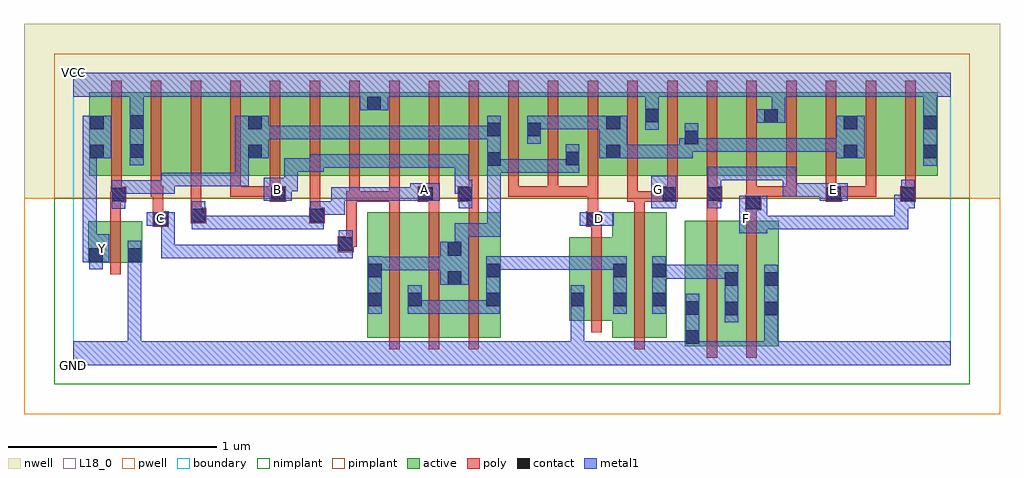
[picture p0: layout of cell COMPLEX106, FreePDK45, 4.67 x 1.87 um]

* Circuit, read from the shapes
.subckt COMPLEX106 A B C D E F G GND VCC Y
M1 GND n1 Y VSUBS nfet w=0.2u l=0.05u
M2 n2 C n1 VSUBS nfet w=0.6u l=0.05u
M3 n1 A n2 VSUBS nfet w=0.6u l=0.05u
M4 n2 B n1 VSUBS nfet w=0.6u l=0.05u
M5 n2 D GND VSUBS nfet w=0.4u l=0.05u
M6 n3 G n2 VSUBS nfet w=0.6u l=0.05u
M7 n3 E GND VSUBS nfet w=0.6u l=0.05u
M8 GND F n3 VSUBS nfet w=0.6u l=0.05u
M9 VCC n1 Y n4 pfet w=0.4u l=0.05u
M10 n5 C VCC n4 pfet w=0.4u l=0.05u
M11 n6 A n5 n4 pfet w=0.4u l=0.05u
M12 n1 B n6 n4 pfet w=0.4u l=0.05u
M13 n7 B n1 n4 pfet w=0.4u l=0.05u
M14 n8 A n7 n4 pfet w=0.4u l=0.05u
M15 VCC C n8 n4 pfet w=0.4u l=0.05u
M16 n9 C VCC n4 pfet w=0.4u l=0.05u
M17 n10 A n9 n4 pfet w=0.4u l=0.05u
M18 n1 B n10 n4 pfet w=0.4u l=0.05u
M19 n11 D n1 n4 pfet w=0.4u l=0.05u m=3
M20 VCC G n11 n4 pfet w=0.4u l=0.05u m=2
M21 n12 E n11 n4 pfet w=0.4u l=0.05u
M22 VCC F n12 n4 pfet w=0.4u l=0.05u
M23 n13 F VCC n4 pfet w=0.4u l=0.05u
M24 n11 E n13 n4 pfet w=0.4u l=0.05u
M25 n14 E n11 n4 pfet w=0.4u l=0.05u
M26 VCC F n14 n4 pfet w=0.4u l=0.05u
.ends

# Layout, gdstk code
import gdstk
lib = gdstk.Library(unit=1e-6, precision=1e-09)
def R(c, l, rs):  # rectangles x0, y0, x1, y1
    for r in rs: c.add(gdstk.rectangle(r[:2], r[2:], *l))
def A(c, l, x, y, w, h, nx, ny, dx, dy):  # array of equal rectangles
    R(c, l, [(x+i*dx, y+j*dy, x+i*dx+w, y+j*dy+h) for i in range(nx) for j in range(ny)])
active = (1, 0)
pwell = (2, 0)
nwell = (3, 0)
nimplant = (4, 0)
pimplant = (5, 0)
poly = (9, 0)
contact = (10, 0)
metal1 = (11, 0)
L18_0 = (18, 0)
boundary = (235, 0)

complex106 = lib.new_cell('COMPLEX106')
A(complex106, active, 0.492, 0.907, 0.19, 0.4, 3, 1, 0.57, 0)
A(complex106, active, 2.922, 0.907, 0.23, 0.4, 3, 1, 0.38, 0)
A(complex106, active, 3.152, 0.907, 0.225, 0.4, 3, 1, 0.38, 0)
R(complex106, active, [(2.927,0.092,3.002,0.692), (2.927,0.092,3.187,0.692), (3.112,0.092,3.377,0.692), (3.302,0.092,3.377,0.692), (1.407,0.132,1.672,0.732), (1.597,0.132,1.862,0.732), (1.787,0.132,2.047,0.732), (2.58,0.132,2.84,0.732), (1.407,0.145,1.482,0.732), (1.597,0.145,1.672,0.617), (1.787,0.145,1.862,0.692), (1.972,0.145,2.047,0.732), (2.765,0.145,2.84,0.732), (3.112,0.145,3.187,0.692), (2.58,0.2,2.655,0.612), (2.375,0.212,2.655,0.612), (2.375,0.212,2.45,0.612), (0.072,0.49,0.147,0.69), (0.072,0.49,0.332,0.69), (0.257,0.49,0.332,0.69), (0.077,0.907,0.152,1.2), (0.077,0.907,0.342,1.307), (0.267,0.907,0.342,1.307), (0.267,0.907,0.492,1.307), (0.682,0.907,0.907,1.307), (0.832,0.907,1.062,1.307), (0.832,0.907,0.907,1.2), (1.252,0.907,1.477,1.307), (1.402,0.907,1.632,1.307), (1.402,0.907,1.477,1.29), (1.822,0.907,2.052,1.307), (1.977,0.907,2.052,1.2), (1.977,0.907,2.242,1.307), (2.167,0.907,2.242,1.2), (2.167,0.907,2.427,1.307), (2.352,0.907,2.622,1.307), (2.352,0.907,2.427,1.07), (2.547,0.907,2.622,1.2), (2.547,0.907,2.807,1.307), (2.732,0.907,2.807,1.307), (2.732,0.907,2.997,1.307), (2.922,0.907,2.997,1.2), (3.302,0.907,3.377,1.307), (3.682,0.907,3.757,1.2), (4.062,0.907,4.137,1.307)])
R(complex106, pwell, [(-0.235,-0.235,4.435,0.8)])
R(complex106, nwell, [(-0.235,0.8,4.435,1.635)])
R(complex106, nimplant, [(-0.09,-0.09,4.29,0.8)])
R(complex106, pimplant, [(-0.09,0.8,4.29,1.49)])
A(complex106, poly, 1.512, 0.077, 0.05, 0.71, 3, 1, 0.19, 0)
A(complex106, poly, 1.512, 0.737, 0.05, 0.095, 3, 1, 0.19, 0)
A(complex106, poly, 1.702, 0.807, 0.05, 0.095, 5, 1, 0.19, 0)
A(complex106, poly, 2.842, 0.807, 0.05, 0.095, 7, 1, 0.19, 0)
A(complex106, poly, 0.182, 0.852, 0.05, 0.51, 21, 1, 0.19, 0)
R(complex106, poly, [(3.032,0.037,3.082,0.747), (3.222,0.037,3.272,0.747), (2.685,0.077,2.735,0.787), (2.48,0.157,2.53,0.667), (0.177,0.435,0.227,0.745), (1.267,0.542,1.342,0.617), (1.292,0.567,1.342,0.617), (1.292,0.567,1.357,0.617), (1.307,0.567,1.357,0.832), (2.48,0.617,2.53,0.712), (0.382,0.662,0.457,0.737), (2.455,0.662,2.53,0.737), (0.562,0.68,0.637,0.755), (1.13,0.68,1.205,0.755), (0.382,0.687,0.432,0.857), (2.462,0.687,2.512,0.857), (0.177,0.695,0.227,0.83), (3.032,0.697,3.082,0.832), (3.222,0.697,3.272,0.792), (0.562,0.705,0.612,0.755), (0.562,0.705,0.612,0.755), (0.562,0.705,0.612,0.902), (1.132,0.705,1.182,0.755), (1.132,0.705,1.182,0.755), (1.132,0.705,1.182,0.902), (2.685,0.737,2.735,0.832), (3.217,0.742,3.292,0.817), (3.222,0.767,3.272,0.857), (0.177,0.78,0.23,0.83), (0.18,0.78,0.23,0.83), (0.18,0.78,0.255,0.855), (0.942,0.782,1.017,0.857), (1.307,0.782,1.372,0.832), (1.322,0.782,1.372,0.832), (1.322,0.782,1.372,0.832), (1.322,0.782,1.562,0.832), (1.322,0.782,1.372,0.902), (1.512,0.782,1.562,0.832), (1.512,0.782,1.562,0.832), (1.512,0.782,1.562,0.832), (1.512,0.782,1.562,0.832), (1.512,0.782,1.562,0.832), (1.512,0.782,1.562,0.902), (1.65,0.782,1.752,0.857), (1.84,0.782,1.942,0.857), (1.892,0.782,1.942,0.832), (1.892,0.782,1.942,0.832), (2.652,0.782,2.702,0.902), (2.652,0.782,2.735,0.832), (2.685,0.782,2.735,0.832), (2.685,0.782,2.735,0.832), (2.685,0.782,2.735,0.832), (2.685,0.782,2.735,0.832), (2.685,0.782,2.867,0.832), (2.817,0.782,2.892,0.857), (3.032,0.782,3.082,0.832), (3.032,0.782,3.082,0.832), (3.032,0.782,3.107,0.857), (3.602,0.782,3.677,0.857), (3.957,0.782,4.032,0.857), (0.182,0.805,0.232,0.902), (0.372,0.807,0.422,0.902), (0.372,0.807,0.432,0.857), (0.752,0.807,0.802,0.902), (0.752,0.807,0.802,0.857), (0.752,0.807,0.802,0.857), (0.752,0.807,0.802,0.857), (0.752,0.807,0.992,0.857), (0.942,0.807,0.992,0.902), (1.702,0.807,1.752,0.857), (1.702,0.807,1.752,0.857), (2.082,0.807,2.132,0.857), (2.082,0.807,2.132,0.857), (2.082,0.807,2.132,0.857), (2.082,0.807,2.322,0.857), (2.272,0.807,2.322,0.857), (2.272,0.807,2.322,0.857), (2.272,0.807,2.322,0.857), (2.272,0.807,2.512,0.857), (2.462,0.807,2.512,0.857), (3.222,0.807,3.272,0.857), (3.222,0.807,3.462,0.857), (3.412,0.807,3.462,0.857), (3.412,0.807,3.462,0.857), (3.412,0.807,3.462,0.857), (3.627,0.807,3.677,0.857), (3.627,0.807,3.677,0.857), (3.627,0.807,3.842,0.857), (3.792,0.807,3.842,0.857), (3.982,0.807,4.032,0.857), (3.982,0.807,4.032,0.857)])
R(complex106, contact, [(2.932,0.102,2.997,0.167), (3.117,0.24,3.182,0.305), (3.307,0.24,3.372,0.305), (2.932,0.242,2.997,0.307), (1.412,0.282,1.477,0.347), (1.602,0.282,1.667,0.347), (1.977,0.282,2.042,0.347), (2.38,0.282,2.445,0.347), (2.585,0.282,2.65,0.347), (2.77,0.282,2.835,0.347), (3.117,0.38,3.182,0.445), (3.307,0.38,3.372,0.445), (1.792,0.385,1.857,0.45), (1.412,0.422,1.477,0.487), (1.977,0.422,2.042,0.487), (2.585,0.422,2.65,0.487), (2.77,0.422,2.835,0.487), (0.077,0.495,0.142,0.56), (0.262,0.495,0.327,0.56), (1.792,0.525,1.857,0.59), (1.272,0.547,1.337,0.612), (0.387,0.667,0.452,0.732), (2.46,0.667,2.525,0.732), (0.567,0.685,0.632,0.75), (1.135,0.685,1.2,0.75), (3.222,0.747,3.287,0.812), (0.185,0.785,0.25,0.85), (0.947,0.787,1.012,0.852), (1.655,0.787,1.72,0.852), (1.845,0.787,1.91,0.852), (2.822,0.787,2.887,0.852), (3.037,0.787,3.102,0.852), (3.607,0.787,3.672,0.852), (3.962,0.787,4.027,0.852), (1.982,0.955,2.047,1.02), (2.357,0.957,2.422,1.022), (0.082,0.99,0.147,1.055), (0.837,0.99,0.902,1.055), (2.552,0.99,2.617,1.055), (3.687,0.99,3.752,1.055), (4.067,0.99,4.132,1.055), (0.272,0.992,0.337,1.057), (2.927,1.057,2.992,1.122), (1.982,1.095,2.047,1.16), (2.172,1.095,2.237,1.16), (0.082,1.13,0.147,1.195), (0.837,1.13,0.902,1.195), (2.552,1.13,2.617,1.195), (3.687,1.13,3.752,1.195), (4.067,1.13,4.132,1.195), (0.272,1.132,0.337,1.197), (3.307,1.16,3.372,1.225), (2.737,1.162,2.802,1.227), (1.407,1.22,1.472,1.285)])
R(complex106, metal1, [(0,0,4.2,0.115), (0.262,0.05,0.327,0.115), (0.262,0.05,0.327,0.115), (0.262,0.05,0.327,0.115), (0.262,0.05,0.327,0.115), (0.262,0.05,0.327,0.115), (0.262,0.05,0.327,0.115), (0.262,0.05,0.327,0.525), (2.38,0.05,2.445,0.115), (2.38,0.05,2.445,0.115), (2.38,0.05,2.445,0.312), (2.932,0.05,2.997,0.132), (3.307,0.05,3.372,0.27), (2.932,0.067,2.997,0.342), (3.117,0.205,3.182,0.48), (3.307,0.205,3.372,0.48), (1.412,0.247,1.477,0.522), (1.602,0.247,1.667,0.382), (1.602,0.247,1.667,0.312), (1.602,0.247,1.667,0.312), (1.602,0.247,1.892,0.312), (1.827,0.247,1.892,0.312), (1.827,0.247,1.892,0.312), (1.827,0.247,1.892,0.312), (1.827,0.247,2.042,0.312), (1.977,0.247,2.042,0.522), (2.38,0.247,2.445,0.382), (2.585,0.247,2.65,0.522), (2.77,0.247,2.835,0.522), (1.757,0.385,1.892,0.59), (2.77,0.415,2.835,0.48), (2.77,0.415,2.835,0.48), (2.77,0.415,3.045,0.48), (2.98,0.415,3.045,0.48), (2.98,0.415,3.115,0.48), (3.05,0.415,3.115,0.48), (3.05,0.415,3.182,0.48), (1.412,0.455,1.477,0.52), (1.412,0.455,1.477,0.52), (1.412,0.455,1.685,0.52), (1.62,0.455,1.685,0.52), (1.62,0.455,1.685,0.52), (1.62,0.455,1.685,0.52), (1.62,0.455,1.822,0.52), (1.977,0.457,2.042,0.522), (1.977,0.457,2.042,0.522), (1.977,0.457,2.047,0.522), (1.982,0.457,2.047,0.522), (1.982,0.457,2.285,0.522), (2.22,0.457,2.285,0.522), (2.22,0.457,2.285,0.522), (2.22,0.457,2.285,0.522), (2.22,0.457,2.445,0.522), (2.38,0.457,2.445,0.522), (2.38,0.457,2.445,0.522), (2.38,0.457,2.445,0.522), (2.38,0.457,2.65,0.522), (0.077,0.46,0.142,0.595), (0.262,0.46,0.327,0.595), (0.047,0.492,0.172,0.627), (0.077,0.492,0.142,0.557), (0.422,0.512,0.487,0.577), (0.422,0.512,0.625,0.577), (0.422,0.512,0.487,0.732), (0.56,0.512,0.625,0.577), (0.56,0.512,0.625,0.577), (0.56,0.512,0.625,0.577), (0.56,0.512,0.8,0.577), (0.735,0.512,0.8,0.577), (0.735,0.512,0.8,0.577), (0.735,0.512,0.8,0.577), (0.735,0.512,0.977,0.577), (0.912,0.512,0.977,0.577), (0.912,0.512,1.075,0.577), (1.01,0.512,1.075,0.577), (1.01,0.512,1.2,0.577), (1.135,0.512,1.2,0.577), (1.135,0.512,1.212,0.577), (1.147,0.512,1.212,0.577), (1.147,0.512,1.212,0.577), (1.147,0.512,1.212,0.577), (1.147,0.512,1.337,0.577), (1.272,0.512,1.337,0.647), (1.827,0.525,1.892,0.68), (0.047,0.562,0.112,1.055), (1.827,0.615,1.892,0.68), (1.827,0.615,1.892,0.68), (1.827,0.615,1.892,0.68), (1.827,0.615,2.047,0.68), (1.982,0.615,2.047,0.68), (1.982,0.615,2.047,0.68), (1.982,0.615,2.047,0.68), (1.982,0.615,2.047,0.985), (3.187,0.632,3.322,0.812), (0.567,0.65,0.632,0.785), (0.567,0.65,0.632,0.715), (0.567,0.65,0.632,0.715), (0.567,0.65,0.8,0.715), (0.735,0.65,0.8,0.715), (0.735,0.65,0.8,0.715), (0.735,0.65,0.8,0.715), (0.735,0.65,0.937,0.715), (0.872,0.65,0.937,0.715), (0.872,0.65,1.075,0.715), (1.01,0.65,1.075,0.715), (1.01,0.65,1.2,0.715), (1.135,0.65,1.2,0.785), (3.257,0.65,3.322,0.715), (3.257,0.65,3.322,0.715), (3.257,0.65,3.5,0.715), (3.435,0.65,3.5,0.715), (3.435,0.65,3.5,0.715), (3.435,0.65,3.5,0.715), (3.435,0.65,3.717,0.715), (3.652,0.65,3.717,0.715), (3.652,0.65,3.855,0.715), (3.79,0.65,3.995,0.715), (3.79,0.65,3.855,0.715), (3.79,0.65,3.855,0.715), (3.79,0.65,3.855,0.715), (3.93,0.65,3.995,0.817), (0.352,0.667,0.487,0.732), (0.422,0.667,0.487,0.732), (0.422,0.667,0.487,0.732), (2.425,0.667,2.587,0.732), (1.135,0.72,1.3,0.785), (1.235,0.72,1.3,0.852), (0.185,0.75,0.25,0.885), (1.845,0.752,1.91,0.887), (2.767,0.752,2.887,0.907), (3.037,0.752,3.102,0.95), (3.93,0.752,4.027,0.817), (3.962,0.752,4.027,0.887), (0.912,0.787,1.047,0.897), (1.235,0.787,1.34,0.852), (1.275,0.787,1.34,0.852), (1.275,0.787,1.507,0.852), (1.442,0.787,1.507,0.852), (1.442,0.787,1.507,0.852), (1.442,0.787,1.507,0.852), (1.442,0.787,1.677,0.852), (1.612,0.787,1.677,0.852), (1.612,0.787,1.677,0.852), (1.612,0.787,1.755,0.872), (3.572,0.787,3.707,0.872), (3.395,0.807,3.46,0.872), (3.395,0.807,3.46,0.872), (3.395,0.807,3.637,0.872), (3.395,0.807,3.46,0.95), (0.185,0.82,0.25,0.885), (0.185,0.82,0.25,0.885), (0.185,0.82,0.487,0.885), (0.422,0.82,0.487,0.885), (0.422,0.82,0.487,0.885), (0.422,0.82,0.487,0.922), (1.827,0.822,1.91,0.887), (1.827,0.822,1.892,1.01), (0.982,0.832,1.075,0.897), (1.01,0.832,1.075,0.99), (0.422,0.857,0.632,0.922), (0.567,0.857,0.632,0.922), (0.567,0.857,0.632,0.922), (0.567,0.857,0.632,0.922), (0.567,0.857,0.8,0.922), (0.735,0.857,0.8,0.922), (0.735,0.857,0.84,0.922), (0.775,0.857,0.84,0.922), (0.775,0.857,0.84,1.055), (3.037,0.885,3.182,0.95), (3.117,0.885,3.322,0.95), (3.117,0.885,3.182,0.95), (3.257,0.885,3.322,0.95), (3.257,0.885,3.322,0.95), (3.257,0.885,3.322,0.95), (3.257,0.885,3.46,0.95), (1.982,0.92,2.047,1.195), (1.982,0.922,2.047,0.987), (1.982,0.922,2.047,0.987), (1.982,0.922,2.185,0.987), (2.12,0.922,2.185,0.987), (2.12,0.922,2.185,0.987), (2.12,0.922,2.185,0.987), (2.12,0.922,2.422,0.987), (2.357,0.922,2.422,1.057), (1.01,0.925,1.2,0.99), (1.135,0.925,1.2,1.01), (1.135,0.945,1.212,1.01), (1.147,0.945,1.212,1.01), (1.147,0.945,1.34,1.01), (1.275,0.945,1.34,1.01), (1.275,0.945,1.477,1.01), (1.412,0.945,1.477,1.01), (1.412,0.945,1.477,1.01), (1.412,0.945,1.477,1.01), (1.412,0.945,1.645,1.01), (1.58,0.945,1.645,1.01), (1.58,0.945,1.645,1.01), (1.58,0.945,1.645,1.01), (1.58,0.945,1.892,1.01), (4.067,0.955,4.132,1.23), (0.272,0.957,0.337,1.232), (0.047,0.99,0.112,1.055), (0.047,0.99,0.112,1.055), (0.047,0.99,0.182,1.195), (0.775,0.99,0.937,1.195), (2.517,0.99,2.652,1.195), (2.587,0.99,2.652,1.055), (2.587,0.99,2.652,1.055), (2.587,0.99,2.652,1.055), (2.587,0.99,2.652,1.055), (2.587,0.99,2.79,1.055), (2.725,0.99,2.79,1.055), (2.725,0.99,2.965,1.055), (2.9,0.99,2.965,1.087), (3.652,0.99,3.787,1.195), (2.9,1.022,2.992,1.087), (2.927,1.022,2.992,1.157), (2.927,1.022,3.102,1.087), (3.037,1.022,3.102,1.087), (3.037,1.022,3.185,1.087), (3.12,1.022,3.185,1.087), (3.12,1.022,3.322,1.087), (3.257,1.022,3.322,1.087), (3.257,1.022,3.322,1.087), (3.257,1.022,3.322,1.087), (3.257,1.022,3.5,1.087), (3.435,1.022,3.5,1.087), (3.435,1.022,3.5,1.087), (3.435,1.022,3.5,1.087), (3.435,1.022,3.717,1.087), (3.652,1.022,3.717,1.087), (3.652,1.022,3.717,1.087), (2.172,1.06,2.237,1.195), (0.872,1.082,0.937,1.147), (0.872,1.082,0.937,1.147), (0.872,1.082,1.075,1.147), (1.01,1.082,1.075,1.147), (1.01,1.082,1.185,1.147), (1.12,1.082,1.185,1.147), (1.12,1.082,1.212,1.147), (1.147,1.082,1.212,1.147), (1.147,1.082,1.34,1.147), (1.275,1.082,1.34,1.147), (1.275,1.082,1.477,1.147), (1.412,1.082,1.477,1.147), (1.412,1.082,1.477,1.147), (1.412,1.082,1.477,1.147), (1.412,1.082,1.645,1.147), (1.58,1.082,1.645,1.147), (1.58,1.082,1.645,1.147), (1.58,1.082,1.645,1.147), (1.58,1.082,1.892,1.147), (1.827,1.082,1.892,1.147), (1.827,1.082,1.892,1.147), (1.827,1.082,1.892,1.147), (1.827,1.082,2.047,1.147), (2.737,1.127,2.802,1.262), (2.172,1.13,2.237,1.195), (2.172,1.13,2.237,1.195), (2.172,1.13,2.445,1.195), (2.38,1.13,2.445,1.195), (2.38,1.13,2.445,1.195), (2.38,1.13,2.445,1.195), (2.38,1.13,2.582,1.195), (3.272,1.16,3.407,1.225), (3.342,1.16,3.407,1.35), (4.067,1.165,4.132,1.35), (0.272,1.167,0.337,1.35), (2.737,1.197,2.802,1.35), (1.372,1.22,1.507,1.285), (1.442,1.22,1.507,1.35), (0,1.285,4.2,1.4)])
R(complex106, L18_0, [(0,0,4.2,0.115), (0.262,0.05,0.327,0.115), (0.262,0.05,0.327,0.115), (0.262,0.05,0.327,0.115), (0.262,0.05,0.327,0.115), (0.262,0.05,0.327,0.115), (0.262,0.05,0.327,0.115), (0.262,0.05,0.327,0.525), (2.38,0.05,2.445,0.115), (2.38,0.05,2.445,0.115), (2.38,0.05,2.445,0.312), (2.932,0.05,2.997,0.132), (3.307,0.05,3.372,0.27), (2.932,0.067,2.997,0.342), (3.307,0.205,3.372,0.48), (2.38,0.247,2.445,0.382), (0.077,0.46,0.142,0.595), (0.262,0.46,0.327,0.595), (0.047,0.492,0.172,0.627), (0.077,0.492,0.142,0.557), (0.422,0.512,0.487,0.577), (0.422,0.512,0.487,0.732), (0.422,0.512,0.625,0.577), (0.56,0.512,0.625,0.577), (0.56,0.512,0.625,0.577), (0.56,0.512,0.625,0.577), (0.56,0.512,0.8,0.577), (0.735,0.512,0.8,0.577), (0.735,0.512,0.8,0.577), (0.735,0.512,0.8,0.577), (0.735,0.512,0.977,0.577), (0.912,0.512,0.977,0.577), (0.912,0.512,1.075,0.577), (1.01,0.512,1.075,0.577), (1.01,0.512,1.2,0.577), (1.135,0.512,1.2,0.577), (1.135,0.512,1.212,0.577), (1.147,0.512,1.212,0.577), (1.147,0.512,1.212,0.577), (1.147,0.512,1.212,0.577), (1.147,0.512,1.337,0.577), (1.272,0.512,1.337,0.647), (0.107,0.527,0.172,0.592), (0.047,0.562,0.112,1.055), (3.187,0.632,3.322,0.812), (0.567,0.65,0.632,0.785), (0.567,0.65,0.632,0.715), (0.567,0.65,0.632,0.715), (0.567,0.65,0.8,0.715), (0.735,0.65,0.8,0.715), (0.735,0.65,0.8,0.715), (0.735,0.65,0.8,0.715), (0.735,0.65,0.937,0.715), (0.872,0.65,0.937,0.715), (0.872,0.65,1.075,0.715), (1.01,0.65,1.075,0.715), (1.01,0.65,1.2,0.715), (1.135,0.65,1.2,0.785), (3.257,0.65,3.322,0.715), (3.257,0.65,3.322,0.715), (3.257,0.65,3.5,0.715), (3.435,0.65,3.5,0.715), (3.435,0.65,3.5,0.715), (3.435,0.65,3.5,0.715), (3.435,0.65,3.717,0.715), (3.652,0.65,3.717,0.715), (3.652,0.65,3.855,0.715), (3.79,0.65,3.855,0.715), (3.79,0.65,3.855,0.715), (3.79,0.65,3.855,0.715), (3.79,0.65,3.995,0.715), (3.93,0.65,3.995,0.817), (0.352,0.667,0.487,0.732), (0.387,0.667,0.452,0.732), (0.422,0.667,0.487,0.732), (0.422,0.667,0.487,0.732), (2.425,0.667,2.587,0.732), (2.487,0.667,2.552,0.732), (3.187,0.667,3.252,0.732), (1.135,0.72,1.3,0.785), (1.235,0.72,1.3,0.852), (1.845,0.752,1.91,0.887), (2.767,0.752,2.887,0.907), (3.037,0.752,3.102,0.95), (3.93,0.752,4.027,0.817), (3.962,0.752,4.027,0.887), (0.912,0.787,1.047,0.897), (1.235,0.787,1.34,0.852), (1.275,0.787,1.34,0.852), (1.275,0.787,1.507,0.852), (1.442,0.787,1.507,0.852), (1.442,0.787,1.507,0.852), (1.442,0.787,1.507,0.852), (1.442,0.787,1.677,0.852), (1.612,0.787,1.677,0.852), (1.612,0.787,1.677,0.852), (1.612,0.787,1.755,0.872), (3.572,0.787,3.707,0.872), (0.947,0.807,1.012,0.872), (1.647,0.807,1.712,0.872), (2.767,0.807,2.832,0.872), (3.395,0.807,3.46,0.872), (3.395,0.807,3.46,0.872), (3.395,0.807,3.637,0.872), (3.395,0.807,3.46,0.95), (3.607,0.807,3.672,0.872), (1.827,0.822,1.892,1.01), (1.827,0.822,1.91,0.887), (0.982,0.832,1.075,0.897), (1.01,0.832,1.075,0.99), (3.037,0.885,3.182,0.95), (3.117,0.885,3.182,0.95), (3.117,0.885,3.322,0.95), (3.257,0.885,3.322,0.95), (3.257,0.885,3.322,0.95), (3.257,0.885,3.322,0.95), (3.257,0.885,3.46,0.95), (1.01,0.925,1.2,0.99), (1.135,0.925,1.2,1.01), (1.135,0.945,1.212,1.01), (1.147,0.945,1.212,1.01), (1.147,0.945,1.34,1.01), (1.275,0.945,1.34,1.01), (1.275,0.945,1.477,1.01), (1.412,0.945,1.477,1.01), (1.412,0.945,1.477,1.01), (1.412,0.945,1.477,1.01), (1.412,0.945,1.645,1.01), (1.58,0.945,1.645,1.01), (1.58,0.945,1.645,1.01), (1.58,0.945,1.645,1.01), (1.58,0.945,1.892,1.01), (4.067,0.955,4.132,1.23), (0.272,0.957,0.337,1.232), (0.047,0.99,0.112,1.055), (0.047,0.99,0.112,1.055), (0.047,0.99,0.182,1.195), (2.737,1.127,2.802,1.262), (3.272,1.16,3.407,1.225), (3.342,1.16,3.407,1.35), (4.067,1.165,4.132,1.35), (0.272,1.167,0.337,1.35), (2.737,1.197,2.802,1.35), (1.372,1.22,1.507,1.285), (1.442,1.22,1.507,1.35), (0,1.285,4.2,1.4)])
R(complex106, boundary, [(0,0,4.2,1.4)])
complex106.add(gdstk.Label('A', (1.68,0.84), layer=11, texttype=0))
complex106.add(gdstk.Label('B', (0.98,0.84), layer=11, texttype=0))
complex106.add(gdstk.Label('C', (0.42,0.7), layer=11, texttype=0))
complex106.add(gdstk.Label('D', (2.52,0.7), layer=11, texttype=0))
complex106.add(gdstk.Label('E', (3.64,0.84), layer=11, texttype=0))
complex106.add(gdstk.Label('F', (3.22,0.7), layer=11, texttype=0))
complex106.add(gdstk.Label('G', (2.8,0.84), layer=11, texttype=0))
complex106.add(gdstk.Label('Y', (0.14,0.56), layer=11, texttype=0))
complex106.add(gdstk.Label('VCC', (0,1.4), layer=11, texttype=0))
complex106.add(gdstk.Label('GND', (0,0), layer=11, texttype=0))

lib.write_gds('COMPLEX106.gds')
